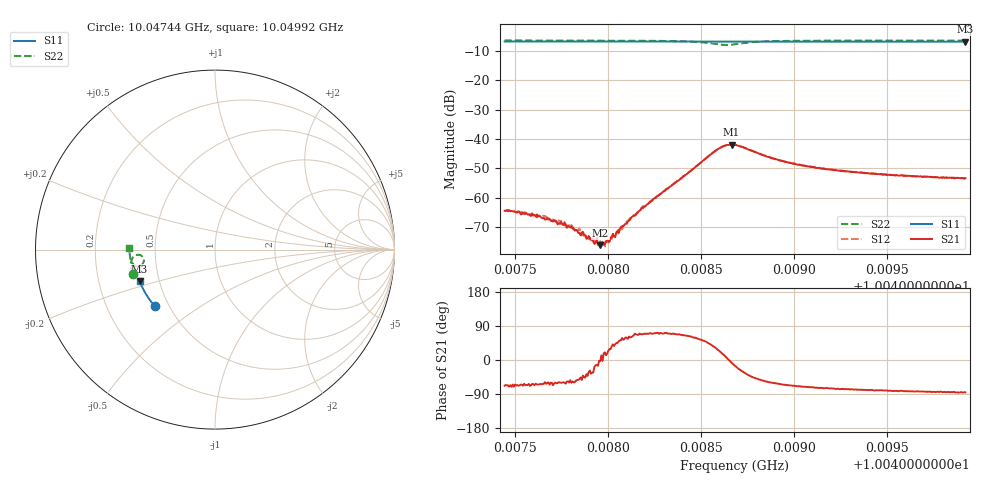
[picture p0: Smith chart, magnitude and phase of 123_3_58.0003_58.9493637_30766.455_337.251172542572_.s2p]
#  HZ  S  RI  R  50.00
! Rohde & Schwarz Vector Network Analyzer
! Rohde-Schwarz,ZNB20-2Port,1311601062101988,3.16
! Created: UTC 3/21/2024, 12:55:48 AM
! freq[Hz]  re:S11  im:S11  re:S21  im:S21  re:S12  im:S12  re:S22  im:S22
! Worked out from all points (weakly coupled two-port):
!   401 points, 10.04744 GHz to 10.04992 GHz, reference 50 ohm
!   highest |S21| = -41.93 dB at 10.04866 GHz (marker M1); lowest = -76.2 dB at 10.04796 GHz (marker M2)
!   lowest |S11| = -6.8 dB at 10.04992 GHz (marker M3), VSWR 2.67, Z = 19.3 - j8.63 ohm
!   |S11| at or under -10 dB: nowhere
!   |S22| runs from -7.9 to -6.4 dB; largest |S21 - S12| = 0.00056
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1.0047444e10  -0.3351 -0.3154  0.000227 -0.000554  0.000273 -0.000534  -0.4592 -0.1339
1.0047605e10  -0.3421 -0.3073  0.000202 -0.000464  0.000218 -0.000419  -0.4618 -0.1226
1.0047661e10  -0.3444 -0.3043  0.000221 -0.000361  0.000233 -0.000427  -0.4626 -0.1184
1.004776e10  -0.3487 -0.2993  0.000176 -0.000292  0.000198 -0.00029  -0.4641 -0.1109
1.0047835e10  -0.3517 -0.2952  0.000166 -0.000219  0.000187 -0.000202  -0.465 -0.1054
1.0047859e10  -0.3528 -0.294  0.000156 -0.000203  0.000171 -0.00015  -0.4652 -0.1034
1.0047897e10  -0.3541 -0.2921  0.00019 -0.000118  0.000182 -7.77e-05  -0.4657 -0.1006
1.0047928e10  -0.3555 -0.2906  0.000155 -4.81e-05  0.000163 -4.38e-05  -0.466 -0.0983
1.004794e10  -0.356 -0.2899  0.000192 -4.4e-05  0.000206 -3.13e-05  -0.4662 -0.0971
1.0047958e10  -0.3568 -0.2888  0.000155 -9.73e-06  0.00018 1.54e-05  -0.4664 -0.0955
1.0048008e10  -0.3587 -0.2863  0.000156 8.59e-05  0.000147 9.77e-05  -0.4666 -0.0913
1.0048045e10  -0.3602 -0.2842  0.000184 0.000182  0.000182 0.000151  -0.467 -0.0881
1.0048107e10  -0.3627 -0.2811  0.00022 0.000323  0.00019 0.000349  -0.4672 -0.0825
1.0048274e10  -0.369 -0.2719  0.000395 0.00103  0.000314 0.00106  -0.4661 -0.0651
1.0048578e10  -0.3797 -0.255  0.00529 0.00336  0.00514 0.00366  -0.4174 -0.0306
1.0048621e10  -0.381 -0.2526  0.00732 0.00185  0.00721 0.00227  -0.4002 -0.0457
1.0048664e10  -0.3823 -0.2504  0.00795 -0.000988  0.00807 -0.000443  -0.3982 -0.0708
1.0048683e10  -0.383 -0.2494  0.00762 -0.0021  0.00779 -0.00163  -0.4032 -0.08
1.0048887e10  -0.3903 -0.2382  0.0023 -0.00403  0.00256 -0.00396  -0.4591 -0.078
1.0049098e10  -0.3973 -0.226  0.00103 -0.00317  0.00119 -0.00312  -0.4708 -0.0535
1.0049513e10  -0.4094 -0.2012  0.000369 -0.0024  0.000525 -0.00243  -0.476 -0.0181
1.0049922e10  -0.42 -0.1766  0.000169 -0.00214  0.000282 -0.00214  -0.4765 0.0116
